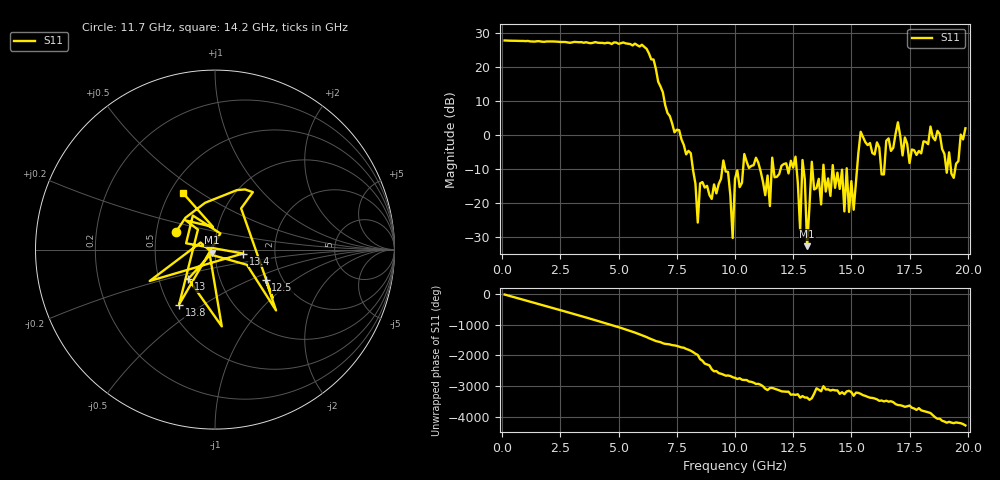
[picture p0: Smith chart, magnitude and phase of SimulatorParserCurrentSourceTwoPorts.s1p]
# MHz MA S R 50.0
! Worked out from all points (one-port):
!   199 points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, 100 MHz to 19.9 GHz, reference 50 ohm
!   lowest |S11| = -32.8 dB at 13.1 GHz (marker M1), VSWR 1.05, Z = 48.4 - j1.63 ohm
!   |S11| at or under -10 dB: 8.191 GHz to 9.454 GHz (1.262 GHz wide, 14.3 % of centre); 9.577 GHz to 10.35 GHz (770.8 MHz wide, 7.74 % of centre); 11.07 GHz to 11.58 GHz (501.7 MHz wide, 4.43 % of centre) (the widest 3 of 14)
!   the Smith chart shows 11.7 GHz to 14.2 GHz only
!   S11 on the Smith chart (normalised r, x): 11.7 GHz: 0.63, +0.13; 12.5 GHz: 1.64, -0.63; 13 GHz: 0.71, -0.24; 13.4 GHz: 1.37, -0.06; 13.8 GHz: 0.57, -0.40; 14.2 GHz: 0.59, +0.42
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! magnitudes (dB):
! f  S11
! 100 MHz  27.9
! 2.6 GHz  27.5
! 5.1 GHz  27.1
! 7.6 GHz  1.5
! 8.1 GHz  -5.3
! 8.4 GHz  -25.8
! 9.5 GHz  -7.5
! 9.9 GHz  -30.4
! 10 GHz  -12.9
! 11.7 GHz  -12.4
! 12.5 GHz  -9.6
! 12.8 GHz  -28.0
! 12.9 GHz  -7.3
! 13 GHz  -13.1
! 13.1 GHz  -32.8
! 13.3 GHz  -7.9
! 13.4 GHz  -16.0
! 13.7 GHz  -20.5
! 13.8 GHz  -8.7
! 14.2 GHz  -8.8
! 14.7 GHz  -22.5
! 15 GHz  -13.6
! 15.1 GHz  -22.0
! 15.4 GHz  1.0
! 17.5 GHz  -8.2
! 18.4 GHz  2.5
! 19.4 GHz  -12.6
! 19.9 GHz  2.0
